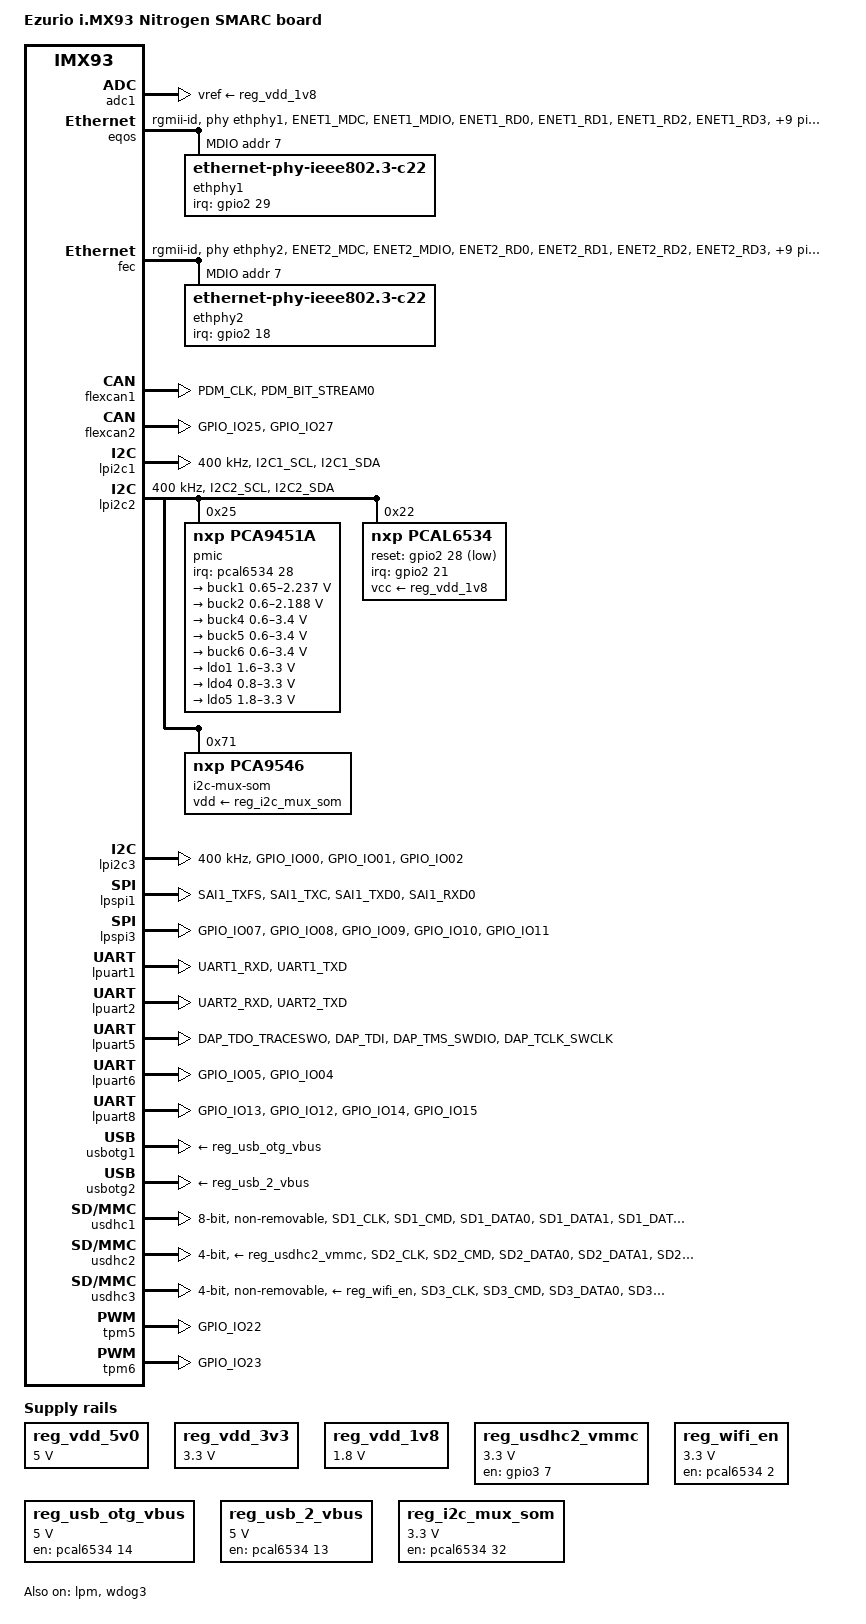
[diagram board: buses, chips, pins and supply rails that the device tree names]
// SPDX-License-Identifier: (GPL-2.0-or-later OR MIT)
/*
 * Copyright 2025 Ezurio LLC
 */

/dts-v1/;

#include <dt-bindings/usb/pd.h>
#include <dt-bindings/leds/common.h>
#include "imx93.dtsi"

/ {
	model = "Ezurio i.MX93 Nitrogen SMARC board";
	compatible = "summit,imx93-nitrogen-smarc", "fsl,imx93";

	aliases {
		can0 = &flexcan1;
		can1 = &flexcan2;
		ethernet0 = &eqos;
		ethernet1 = &fec;
		spi0 = &lpspi3;
		spi1 = &lpspi1;
		gpio4 = &pcal6534;
	};

	chosen {
		stdout-path = "serial0:115200n8";
	};

	reserved-memory {
		#address-cells = <2>;
		#size-cells = <2>;
		ranges;

		linux_cma: linux,cma {
			compatible = "shared-dma-pool";
			reusable;
			alloc-ranges = <0 0x80000000 0 0x40000000>;
			size = <0 0x10000000>;
			linux,cma-default;
		};

		ele_reserved: ele-reserved@a4120000 {
			compatible = "shared-dma-pool";
			reg = <0 0xa4120000 0 0x100000>;
			no-map;
		};
	};

	reg_vdd_5v0: regulator-vdd-5v0 {
		compatible = "regulator-fixed";
		regulator-name = "reg_vdd_5v0";
		regulator-min-microvolt = <5000000>;
		regulator-max-microvolt = <5000000>;
		regulator-boot-on;
		regulator-always-on;
	};

	reg_vdd_3v3: regulator-vdd-3v3 {
		compatible = "regulator-fixed";
		regulator-name = "reg_vdd_3v3";
		regulator-min-microvolt = <3300000>;
		regulator-max-microvolt = <3300000>;
		regulator-boot-on;
		regulator-always-on;
	};

	reg_vdd_1v8: regulator-vdd-1v8 {
		compatible = "regulator-fixed";
		regulator-name = "reg_vdd_1v8";
		regulator-min-microvolt = <1800000>;
		regulator-max-microvolt = <1800000>;
		regulator-boot-on;
		regulator-always-on;
	};

	reg_usdhc2_vmmc: regulator-usdhc2-vmmc {
		compatible = "regulator-fixed";

		regulator-name = "reg_usdhc2_vmmc";
		regulator-min-microvolt = <3300000>;
		regulator-max-microvolt = <3300000>;

		pinctrl-names = "default";
		pinctrl-0 = <&pinctrl_reg_usdhc2_vmmc>;
		gpio = <&gpio3 7 GPIO_ACTIVE_HIGH>;
		enable-active-high;
	};

	reg_wifi_en: regulator-wifi-en {
		compatible = "regulator-fixed";

		regulator-name = "reg_wifi_en";
		regulator-min-microvolt = <3300000>;
		regulator-max-microvolt = <3300000>;

		gpio = <&pcal6534 2 GPIO_ACTIVE_HIGH>; /* P0_2 -> WL_EN */
		enable-active-high;
	};

	reg_usb_otg_vbus: regulator-usb-otg-vbus {
		compatible = "regulator-fixed";
		regulator-name = "usb_otg_vbus";
		regulator-min-microvolt = <5000000>;
		regulator-max-microvolt = <5000000>;
		gpio = <&pcal6534 14 GPIO_ACTIVE_HIGH>; /* P1_6 -> USB0_EN_OC */
		enable-active-high;
	};

	reg_usb_2_vbus: regulator-usb-2-vbus {
		compatible = "regulator-fixed";
		regulator-name = "usb_2_vbus";
		regulator-min-microvolt = <5000000>;
		regulator-max-microvolt = <5000000>;
		gpio = <&pcal6534 13 GPIO_ACTIVE_HIGH>; /* P1_5 -> USB1_EN_OC */
		enable-active-high;
	};

	reg_i2c_mux_som: regulator-i2c-mux-som {
		compatible = "regulator-fixed";
		regulator-name = "reg_i2c_mux_som";
		regulator-min-microvolt = <3300000>;
		regulator-max-microvolt = <3300000>;
		gpio = <&pcal6534 32 GPIO_ACTIVE_HIGH>; /* P4_0 -> I2C_HUB_RESET */
		enable-active-high;
	};
};

&adc1 {
	vref-supply = <&reg_vdd_1v8>;
};

&ele_fw2 {
	memory-region = <&ele_reserved>;
};

&eqos {
	pinctrl-names = "default", "sleep";
	pinctrl-0 = <&pinctrl_eqos>;
	pinctrl-1 = <&pinctrl_eqos_sleep>;

	phy-mode = "rgmii-id";
	phy-handle = <&ethphy1>;

	status = "okay";

	mdio {
		compatible = "snps,dwmac-mdio";
		#address-cells = <1>;
		#size-cells = <0>;

		reset-gpios = <&pcal6534 1 GPIO_ACTIVE_LOW>;
		reset-delay-us = <150000>;
		reset-post-delay-us = <100>;

		ethphy1: ethernet-phy@7 {
			compatible = "ethernet-phy-ieee802.3-c22";
			reg = <7>;

			interrupts-extended = <&gpio2 29 IRQ_TYPE_LEVEL_LOW>;
		};
	};
};

&fec {
	pinctrl-names = "default", "sleep";
	pinctrl-0 = <&pinctrl_fec>;
	pinctrl-1 = <&pinctrl_fec_sleep>;

	phy-mode = "rgmii-id";
	phy-handle = <&ethphy2>;

	status = "okay";

	mdio {
		#address-cells = <1>;
		#size-cells = <0>;

		reset-gpios = <&pcal6534 0 GPIO_ACTIVE_LOW>;
		reset-delay-us = <150000>;
		reset-post-delay-us = <100>;

		ethphy2: ethernet-phy@7 {
			compatible = "ethernet-phy-ieee802.3-c22";
			reg = <7>;

			interrupts-extended = <&gpio2 18 IRQ_TYPE_LEVEL_LOW>;
		};
	};
};

&flexcan1 {
	pinctrl-names = "default", "sleep";
	pinctrl-0 = <&pinctrl_flexcan1>;
	pinctrl-1 = <&pinctrl_flexcan1_sleep>;
};

&flexcan2 {
	pinctrl-names = "default", "sleep";
	pinctrl-0 = <&pinctrl_flexcan2>;
	pinctrl-1 = <&pinctrl_flexcan2_sleep>;
};

&lpi2c1 { /* PMIC I2C bus, but the PMIC is on lpi2c2 */
	pinctrl-names = "default", "sleep";
	pinctrl-0 = <&pinctrl_lpi2c1>;
	pinctrl-1 = <&pinctrl_lpi2c1>;

	clock-frequency = <400000>;

	#address-cells = <1>;
	#size-cells = <0>;
};

&lpi2c2 {
	pinctrl-names = "default", "sleep";
	pinctrl-0 = <&pinctrl_lpi2c2>;
	pinctrl-1 = <&pinctrl_lpi2c2>;

	clock-frequency = <400000>;
	status = "okay";

	#address-cells = <1>;
	#size-cells = <0>;

	pmic@25 {
		compatible = "nxp,pca9451a";
		reg = <0x25>;
		interrupts-extended = <&pcal6534 28 IRQ_TYPE_EDGE_FALLING>;

		regulators {
			buck1: BUCK1 {
				regulator-name = "BUCK1";
				regulator-min-microvolt = <650000>;
				regulator-max-microvolt = <2237500>;
				regulator-boot-on;
				regulator-always-on;
				regulator-ramp-delay = <3125>;
			};

			buck2: BUCK2 {
				regulator-name = "BUCK2";
				regulator-min-microvolt = <600000>;
				regulator-max-microvolt = <2187500>;
				regulator-boot-on;
				regulator-always-on;
				regulator-ramp-delay = <3125>;
			};

			buck4: BUCK4 {
				regulator-name = "BUCK4";
				regulator-min-microvolt = <600000>;
				regulator-max-microvolt = <3400000>;
				regulator-boot-on;
				regulator-always-on;
			};

			buck5: BUCK5 {
				regulator-name = "BUCK5";
				regulator-min-microvolt = <600000>;
				regulator-max-microvolt = <3400000>;
				regulator-boot-on;
				regulator-always-on;
			};

			buck6: BUCK6 {
				regulator-name = "BUCK6";
				regulator-min-microvolt = <600000>;
				regulator-max-microvolt = <3400000>;
				regulator-boot-on;
				regulator-always-on;
			};

			ldo1: LDO1 {
				regulator-name = "LDO1";
				regulator-min-microvolt = <1600000>;
				regulator-max-microvolt = <3300000>;
				regulator-boot-on;
				regulator-always-on;
			};

			ldo4: LDO4 {
				regulator-name = "LDO4";
				regulator-min-microvolt = <800000>;
				regulator-max-microvolt = <3300000>;
				regulator-boot-on;
				regulator-always-on;
			};

			ldo5: LDO5 {
				regulator-name = "LDO5";
				regulator-min-microvolt = <1800000>;
				regulator-max-microvolt = <3300000>;
				regulator-boot-on;
				regulator-always-on;
			};
		};
	};

	pcal6534: gpio@22 {
		compatible = "nxp,pcal6534";
		reg = <0x22>;

		pinctrl-names = "default";
		pinctrl-0 = <&pinctrl_pcal6534>;
		reset-gpios = <&gpio2 28 GPIO_ACTIVE_LOW>; /* GPIO_IO28 */

		vcc-supply = <&reg_vdd_1v8>;

		gpio-controller;
		#gpio-cells = <2>;

		interrupt-controller;
		#interrupt-cells = <2>;
		interrupts-extended = <&gpio2 21 IRQ_TYPE_LEVEL_LOW>;

		gpio-line-names = "P0_0 ENET2", "P0_1 ENET1", "P0_2 WL_EN",
					"P0_3 WIFI_SDIO_WAKE", "P0_4 BT_EN",
					"P0_5 EMMC_RESET", "P0_6 BT_HOST_WAKE",
					"P0_7 ESPI1_CS1",
					"P1_0 CHARGER_PRESENT", "P1_1 ESPI_ALERT0",
					"P1_2 TEST", "P1_3 ETH1_SPEED",
					"P1_4 SD2_WP", "P1_5 USB2_PWR_EN_OC",
					"P1_6 USB1_PWR_EN_OC", "P1_7 GPIO_4",
					"P2_0 LCD0_BCKL_EN", "P2_1 LCD0_VDD_EN",
					"P2_2 CARRIER_STBY", "P2_3 LCD1_BCKL_EN",
					"P2_4 CHARGING", "P2_5 SLEEP",
					"P2_6 BAT_LOW", "P2_7 SMBUS_IRQ",
					"P3_0 GPIO_8", "P3_1 RESET_OUT",
					"P3_2 GPIO_10", "P3_3 GPIO_11",
					"P3_4 PMIC_IRQ", "P3_5 GPIO_13",
					"P3_6 ETH0_SPEED", "P3_7 CARRIER_PWR_ON",
					"P4_0 I2C_HUB_RESET", "P4_1 GPIO_9";
	};

	i2c-mux-som@71 {
		compatible = "nxp,pca9546";
		reg = <0x71>;

		vdd-supply = <&reg_i2c_mux_som>;

		#address-cells = <1>;
		#size-cells = <0>;

		i2c_som_csi0: i2c-mux-som@0 {
			/* CSI0 I2C */
			reg = <0>;
			#address-cells = <1>;
			#size-cells = <0>;
		};

		i2c_som_lcd: i2c-mux-som@1 {
			/* LCD I2C */
			reg = <1>;
			#address-cells = <1>;
			#size-cells = <0>;
		};

		i2c_som_csi1: i2c-mux-som@2 {
			/* CSI1 I2C */
			reg = <2>;
			#address-cells = <1>;
			#size-cells = <0>;
		};
	};
};

&lpi2c3 { /* SM_I2C_GP */
	pinctrl-names = "default", "sleep";
	pinctrl-0 = <&pinctrl_lpi2c3>;
	pinctrl-1 = <&pinctrl_lpi2c3>;

	clock-frequency = <400000>;

	#address-cells = <1>;
	#size-cells = <0>;
};

&lpm {
	soc-supply = <&buck1>;
	status = "okay";
};

&lpspi1 { /* SPI1 */
	pinctrl-names = "default", "sleep";
	pinctrl-0 = <&pinctrl_lpspi1>;
	pinctrl-1 = <&pinctrl_lpspi1>;

	fsl,spi-num-chipselects = <2>;
	cs-gpios = <0>, <&pcal6534 7 GPIO_ACTIVE_HIGH>;
};

&lpspi3 { /* SPI0 */
	pinctrl-names = "default", "sleep";
	pinctrl-0 = <&pinctrl_lpspi3>;
	pinctrl-1 = <&pinctrl_lpspi3>;

	fsl,spi-num-chipselects = <2>;
};

&lpuart1 { /* console SER1 */
	pinctrl-names = "default";
	pinctrl-0 = <&pinctrl_uart1>;
	status = "okay";
};

&lpuart2 { /* M33 console SER2 */
	pinctrl-names = "default";
	pinctrl-0 = <&pinctrl_uart2>;
};

&lpuart5 {
	/* BT */
	pinctrl-names = "default";
	pinctrl-0 = <&pinctrl_uart5>;
	uart-has-rtscts;
};

&lpuart6 { /*  SER3 */
	pinctrl-names = "default";
	pinctrl-0 = <&pinctrl_uart6>;
};

&lpuart8 { /*  SER0 */
	pinctrl-names = "default";
	pinctrl-0 = <&pinctrl_uart8>;
	uart-has-rtscts;
};

&usbotg1 { /* USB0 */
	vbus-supply = <&reg_usb_otg_vbus>;
	samsung,picophy-pre-emp-curr-control = <3>;
	samsung,picophy-dc-vol-level-adjust = <7>;
};

&usbotg2 { /* USB1 */
	vbus-supply = <&reg_usb_2_vbus>;
	samsung,picophy-pre-emp-curr-control = <3>;
	samsung,picophy-dc-vol-level-adjust = <7>;
};

&usdhc1 { /* eMMC */
	pinctrl-names = "default", "state_100mhz", "state_200mhz";
	pinctrl-0 = <&pinctrl_usdhc1>;
	pinctrl-1 = <&pinctrl_usdhc1_100mhz>;
	pinctrl-2 = <&pinctrl_usdhc1_200mhz>;

	bus-width = <8>;
	non-removable;

	status = "okay";
};

&usdhc2 { /* SD card */
	pinctrl-names = "default", "state_100mhz", "state_200mhz", "sleep";
	pinctrl-0 = <&pinctrl_usdhc2>, <&pinctrl_usdhc2_gpio>;
	pinctrl-1 = <&pinctrl_usdhc2_100mhz>, <&pinctrl_usdhc2_gpio>;
	pinctrl-2 = <&pinctrl_usdhc2_200mhz>, <&pinctrl_usdhc2_gpio>;
	pinctrl-3 = <&pinctrl_usdhc2_sleep>, <&pinctrl_usdhc2_gpio_sleep>;

	cd-gpios = <&gpio3 00 GPIO_ACTIVE_LOW>;
	fsl,cd-gpio-wakeup-disable;

	vmmc-supply = <&reg_usdhc2_vmmc>;

	bus-width = <4>;
};

&usdhc3 { /* WiFi / Bluetooth */
	pinctrl-names = "default", "state_100mhz", "state_200mhz", "sleep";
	pinctrl-0 = <&pinctrl_usdhc3>;
	pinctrl-1 = <&pinctrl_usdhc3_100mhz>;
	pinctrl-2 = <&pinctrl_usdhc3_200mhz>;
	pinctrl-3 = <&pinctrl_usdhc3_sleep>;

	vmmc-supply = <&reg_wifi_en>;

	bus-width = <4>;
	non-removable;
	keep-power-in-suspend;
};

&wdog3 {
	status = "okay";
};

&tpm5 {
	pinctrl-names = "default";
	pinctrl-0 = <&pinctrl_tpm5>;
};

&tpm6 {
	pinctrl-names = "default";
	pinctrl-0 = <&pinctrl_tpm6>;
};

&dsi {
	ports {
		port@1 {
			dsi_out_ep: endpoint {
			};
		};
	};
};

&iomuxc {
	pinctrl_eqos: eqosgrp {
		fsl,pins = <
			MX93_PAD_ENET1_MDC__ENET_QOS_MDC			0x57e
			MX93_PAD_ENET1_MDIO__ENET_QOS_MDIO			0x57e
			MX93_PAD_ENET1_RD0__ENET_QOS_RGMII_RD0			0x37e
			MX93_PAD_ENET1_RD1__ENET_QOS_RGMII_RD1			0x37e
			MX93_PAD_ENET1_RD2__ENET_QOS_RGMII_RD2			0x37e
			MX93_PAD_ENET1_RD3__ENET_QOS_RGMII_RD3			0x37e
			MX93_PAD_ENET1_RXC__CCM_ENET_QOS_CLOCK_GENERATE_RX_CLK	0x3fe
			MX93_PAD_ENET1_RX_CTL__ENET_QOS_RGMII_RX_CTL		0x57e
			MX93_PAD_ENET1_TD0__ENET_QOS_RGMII_TD0			0x57e
			MX93_PAD_ENET1_TD1__ENET_QOS_RGMII_TD1			0x57e
			MX93_PAD_ENET1_TD2__ENET_QOS_RGMII_TD2			0x57e
			MX93_PAD_ENET1_TD3__ENET_QOS_RGMII_TD3			0x57e
			MX93_PAD_ENET1_TXC__CCM_ENET_QOS_CLOCK_GENERATE_TX_CLK	0x5fe
			MX93_PAD_ENET1_TX_CTL__ENET_QOS_RGMII_TX_CTL		0x57e
			MX93_PAD_GPIO_IO29__GPIO2_IO29				0x131e
		>;
	};

	pinctrl_eqos_sleep: eqosgrpsleep {
		fsl,pins = <
			MX93_PAD_ENET1_MDC__GPIO4_IO00				0x31e
			MX93_PAD_ENET1_MDIO__GPIO4_IO01				0x31e
			MX93_PAD_ENET1_RD0__GPIO4_IO10				0x31e
			MX93_PAD_ENET1_RD1__GPIO4_IO11				0x31e
			MX93_PAD_ENET1_RD2__GPIO4_IO12				0x31e
			MX93_PAD_ENET1_RD3__GPIO4_IO13				0x31e
			MX93_PAD_ENET1_RXC__GPIO4_IO09				0x31e
			MX93_PAD_ENET1_RX_CTL__GPIO4_IO08			0x31e
			MX93_PAD_ENET1_TD0__GPIO4_IO05				0x31e
			MX93_PAD_ENET1_TD1__GPIO4_IO04				0x31e
			MX93_PAD_ENET1_TD2__GPIO4_IO03				0x31e
			MX93_PAD_ENET1_TD3__GPIO4_IO02				0x31e
			MX93_PAD_ENET1_TXC__GPIO4_IO07				0x31e
			MX93_PAD_ENET1_TX_CTL__GPIO4_IO06			0x31e
			MX93_PAD_GPIO_IO29__GPIO2_IO29				0x131e
		>;
	};

	pinctrl_fec: fecgrp {
		fsl,pins = <
			MX93_PAD_ENET2_MDC__ENET1_MDC				0x57e
			MX93_PAD_ENET2_MDIO__ENET1_MDIO				0x57e
			MX93_PAD_ENET2_RD0__ENET1_RGMII_RD0			0x37e
			MX93_PAD_ENET2_RD1__ENET1_RGMII_RD1			0x37e
			MX93_PAD_ENET2_RD2__ENET1_RGMII_RD2			0x37e
			MX93_PAD_ENET2_RD3__ENET1_RGMII_RD3			0x37e
			MX93_PAD_ENET2_RXC__ENET1_RGMII_RXC			0x37e
			MX93_PAD_ENET2_RX_CTL__ENET1_RGMII_RX_CTL		0x57e
			MX93_PAD_ENET2_TD0__ENET1_RGMII_TD0			0x57e
			MX93_PAD_ENET2_TD1__ENET1_RGMII_TD1			0x57e
			MX93_PAD_ENET2_TD2__ENET1_RGMII_TD2			0x57e
			MX93_PAD_ENET2_TD3__ENET1_RGMII_TD3			0x57e
			MX93_PAD_ENET2_TXC__ENET1_RGMII_TXC			0x57e
			MX93_PAD_ENET2_TX_CTL__ENET1_RGMII_TX_CTL		0x57e
			MX93_PAD_GPIO_IO18__GPIO2_IO18				0x131e
		>;
	};

	pinctrl_fec_sleep: fecsleepgrp {
		fsl,pins = <
			MX93_PAD_ENET2_MDC__GPIO4_IO14				0x51e
			MX93_PAD_ENET2_MDIO__GPIO4_IO15				0x51e
			MX93_PAD_ENET2_RD0__GPIO4_IO24				0x51e
			MX93_PAD_ENET2_RD1__GPIO4_IO25				0x51e
			MX93_PAD_ENET2_RD2__GPIO4_IO26				0x51e
			MX93_PAD_ENET2_RD3__GPIO4_IO27				0x51e
			MX93_PAD_ENET2_RXC__GPIO4_IO23				0x51e
			MX93_PAD_ENET2_RX_CTL__GPIO4_IO22			0x51e
			MX93_PAD_ENET2_TD0__GPIO4_IO19				0x51e
			MX93_PAD_ENET2_TD1__GPIO4_IO18				0x51e
			MX93_PAD_ENET2_TD2__GPIO4_IO17				0x51e
			MX93_PAD_ENET2_TD3__GPIO4_IO16				0x51e
			MX93_PAD_ENET2_TXC__GPIO4_IO21				0x51e
			MX93_PAD_ENET2_TX_CTL__GPIO4_IO20			0x51e
			MX93_PAD_GPIO_IO18__GPIO2_IO18				0x131e
		>;
	};

	pinctrl_lpi2c1: lpi2c1grp {
		fsl,pins = <
			MX93_PAD_I2C1_SCL__LPI2C1_SCL				0x40000b9e
			MX93_PAD_I2C1_SDA__LPI2C1_SDA				0x40000b9e
		>;
	};

	pinctrl_lpi2c2: lpi2c2grp {
		fsl,pins = <
			MX93_PAD_I2C2_SCL__LPI2C2_SCL				0x40000b9e
			MX93_PAD_I2C2_SDA__LPI2C2_SDA				0x40000b9e
		>;
	};

	pinctrl_lpi2c3: lpi2c3grp {
		fsl,pins = <
			MX93_PAD_GPIO_IO00__LPI2C3_SDA				0x40000b9e
			MX93_PAD_GPIO_IO01__LPI2C3_SCL				0x40000b9e
			MX93_PAD_GPIO_IO02__GPIO2_IO02				0x31e
		>;
	};

	pinctrl_flexcan1: flexcan1grp {
		fsl,pins = <
			MX93_PAD_PDM_CLK__CAN1_TX				0x139e
			MX93_PAD_PDM_BIT_STREAM0__CAN1_RX			0x139e
		>;
	};

	pinctrl_flexcan1_sleep: flexcan1sleepgrp {
		fsl,pins = <
			MX93_PAD_PDM_CLK__GPIO1_IO08				0x31e
			MX93_PAD_PDM_BIT_STREAM0__GPIO1_IO09			0x31e
		>;
	};

	pinctrl_flexcan2: flexcan2grp {
		fsl,pins = <
			MX93_PAD_GPIO_IO25__CAN2_TX				0x139e
			MX93_PAD_GPIO_IO27__CAN2_RX				0x139e
		>;
	};

	pinctrl_flexcan2_sleep: flexcan2sleepgrp {
		fsl,pins = <
			MX93_PAD_GPIO_IO25__GPIO2_IO25  0x31e
			MX93_PAD_GPIO_IO27__GPIO2_IO27	0x31e
		>;
	};

	pinctrl_pcal6534: pcal6534grp {
		fsl,pins = <
			MX93_PAD_GPIO_IO28__GPIO2_IO28				0x31e
			MX93_PAD_GPIO_IO21__GPIO2_IO21				0x131e
		>;
	};

	pinctrl_lpspi1: lpspi1grp {
		fsl,pins = <
			MX93_PAD_SAI1_TXFS__LPSPI1_PCS0				0x3fe
			MX93_PAD_SAI1_TXC__LPSPI1_SIN				0x3fe
			MX93_PAD_SAI1_TXD0__LPSPI1_SCK				0x3fe
			MX93_PAD_SAI1_RXD0__LPSPI1_SOUT				0x3fe
		>;
	};

	pinctrl_lpspi3: lpspi3grp {
		fsl,pins = <
			MX93_PAD_GPIO_IO07__LPSPI3_PCS1				0x3fe
			MX93_PAD_GPIO_IO08__LPSPI3_PCS0				0x3fe
			MX93_PAD_GPIO_IO09__LPSPI3_SIN				0x3fe
			MX93_PAD_GPIO_IO10__LPSPI3_SOUT				0x3fe
			MX93_PAD_GPIO_IO11__LPSPI3_SCK				0x3fe
		>;
	};

	pinctrl_uart1: uart1grp {
		fsl,pins = <
			MX93_PAD_UART1_RXD__LPUART1_RX				0x131e
			MX93_PAD_UART1_TXD__LPUART1_TX				0x31e
		>;
	};

	pinctrl_uart2: uart2grp {
		fsl,pins = <
			MX93_PAD_UART2_RXD__LPUART2_RX				0x131e
			MX93_PAD_UART2_TXD__LPUART2_TX				0x31e
		>;
	};

	pinctrl_uart5: uart5grp {
		fsl,pins = <
			MX93_PAD_DAP_TDO_TRACESWO__LPUART5_TX			0x31e
			MX93_PAD_DAP_TDI__LPUART5_RX				0x131e
			MX93_PAD_DAP_TMS_SWDIO__LPUART5_RTS_B			0x131e
			MX93_PAD_DAP_TCLK_SWCLK__LPUART5_CTS_B			0x131e
		>;
	};

	pinctrl_uart6: uart6grp {
		fsl,pins = <
			MX93_PAD_GPIO_IO05__LPUART6_RX				0x131e
			MX93_PAD_GPIO_IO04__LPUART6_TX				0x31e
		>;
	};

	pinctrl_uart8: uart8grp {
		fsl,pins = <
			MX93_PAD_GPIO_IO13__LPUART8_RX				0x131e
			MX93_PAD_GPIO_IO12__LPUART8_TX				0x31e
			MX93_PAD_GPIO_IO14__LPUART8_CTS_B			0x131e
			MX93_PAD_GPIO_IO15__LPUART8_RTS_B			0x131e
		>;
	};

	/* need to config the SION for data and cmd pad, refer to ERR052021 */
	pinctrl_usdhc1: usdhc1grp {
		fsl,pins = <
			MX93_PAD_SD1_CLK__USDHC1_CLK		0x1582
			MX93_PAD_SD1_CMD__USDHC1_CMD		0x40001382
			MX93_PAD_SD1_DATA0__USDHC1_DATA0	0x40001382
			MX93_PAD_SD1_DATA1__USDHC1_DATA1	0x40001382
			MX93_PAD_SD1_DATA2__USDHC1_DATA2	0x40001382
			MX93_PAD_SD1_DATA3__USDHC1_DATA3	0x40001382
			MX93_PAD_SD1_DATA4__USDHC1_DATA4	0x40001382
			MX93_PAD_SD1_DATA5__USDHC1_DATA5	0x40001382
			MX93_PAD_SD1_DATA6__USDHC1_DATA6	0x40001382
			MX93_PAD_SD1_DATA7__USDHC1_DATA7	0x40001382
			MX93_PAD_SD1_STROBE__USDHC1_STROBE	0x1582
		>;
	};

	/* need to config the SION for data and cmd pad, refer to ERR052021 */
	pinctrl_usdhc1_100mhz: usdhc1-100mhzgrp {
		fsl,pins = <
			MX93_PAD_SD1_CLK__USDHC1_CLK		0x158e
			MX93_PAD_SD1_CMD__USDHC1_CMD		0x4000138e
			MX93_PAD_SD1_DATA0__USDHC1_DATA0	0x4000138e
			MX93_PAD_SD1_DATA1__USDHC1_DATA1	0x4000138e
			MX93_PAD_SD1_DATA2__USDHC1_DATA2	0x4000138e
			MX93_PAD_SD1_DATA3__USDHC1_DATA3	0x4000138e
			MX93_PAD_SD1_DATA4__USDHC1_DATA4	0x4000138e
			MX93_PAD_SD1_DATA5__USDHC1_DATA5	0x4000138e
			MX93_PAD_SD1_DATA6__USDHC1_DATA6	0x4000138e
			MX93_PAD_SD1_DATA7__USDHC1_DATA7	0x4000138e
			MX93_PAD_SD1_STROBE__USDHC1_STROBE	0x158e
		>;
	};

	/* need to config the SION for data and cmd pad, refer to ERR052021 */
	pinctrl_usdhc1_200mhz: usdhc1-200mhzgrp {
		fsl,pins = <
			MX93_PAD_SD1_CLK__USDHC1_CLK		0x15fe
			MX93_PAD_SD1_CMD__USDHC1_CMD		0x400013fe
			MX93_PAD_SD1_DATA0__USDHC1_DATA0	0x400013fe
			MX93_PAD_SD1_DATA1__USDHC1_DATA1	0x400013fe
			MX93_PAD_SD1_DATA2__USDHC1_DATA2	0x400013fe
			MX93_PAD_SD1_DATA3__USDHC1_DATA3	0x400013fe
			MX93_PAD_SD1_DATA4__USDHC1_DATA4	0x400013fe
			MX93_PAD_SD1_DATA5__USDHC1_DATA5	0x400013fe
			MX93_PAD_SD1_DATA6__USDHC1_DATA6	0x400013fe
			MX93_PAD_SD1_DATA7__USDHC1_DATA7	0x400013fe
			MX93_PAD_SD1_STROBE__USDHC1_STROBE	0x15fe
		>;
	};

	pinctrl_reg_usdhc2_vmmc: regusdhc2vmmcgrp {
		fsl,pins = <
			MX93_PAD_SD2_RESET_B__GPIO3_IO07	0x31e
		>;
	};

	pinctrl_usdhc2_gpio: usdhc2gpiogrp {
		fsl,pins = <
			MX93_PAD_SD2_CD_B__GPIO3_IO00		0x31e
		>;
	};

	pinctrl_usdhc2_gpio_sleep: usdhc2gpiosleepgrp {
		fsl,pins = <
			MX93_PAD_SD2_CD_B__GPIO3_IO00		0x51e
		>;
	};

	/* need to config the SION for data and cmd pad, refer to ERR052021 */
	pinctrl_usdhc2: usdhc2grp {
		fsl,pins = <
			MX93_PAD_SD2_CLK__USDHC2_CLK		0x1582
			MX93_PAD_SD2_CMD__USDHC2_CMD		0x40001382
			MX93_PAD_SD2_DATA0__USDHC2_DATA0	0x40001382
			MX93_PAD_SD2_DATA1__USDHC2_DATA1	0x40001382
			MX93_PAD_SD2_DATA2__USDHC2_DATA2	0x40001382
			MX93_PAD_SD2_DATA3__USDHC2_DATA3	0x40001382
			MX93_PAD_SD2_VSELECT__USDHC2_VSELECT	0x51e
		>;
	};

	/* need to config the SION for data and cmd pad, refer to ERR052021 */
	pinctrl_usdhc2_100mhz: usdhc2-100mhzgrp {
		fsl,pins = <
			MX93_PAD_SD2_CLK__USDHC2_CLK		0x158e
			MX93_PAD_SD2_CMD__USDHC2_CMD		0x4000138e
			MX93_PAD_SD2_DATA0__USDHC2_DATA0	0x4000138e
			MX93_PAD_SD2_DATA1__USDHC2_DATA1	0x4000138e
			MX93_PAD_SD2_DATA2__USDHC2_DATA2	0x4000138e
			MX93_PAD_SD2_DATA3__USDHC2_DATA3	0x4000138e
			MX93_PAD_SD2_VSELECT__USDHC2_VSELECT	0x51e
		>;
	};

	/* need to config the SION for data and cmd pad, refer to ERR052021 */
	pinctrl_usdhc2_200mhz: usdhc2-200mhzgrp {
		fsl,pins = <
			MX93_PAD_SD2_CLK__USDHC2_CLK		0x15fe
			MX93_PAD_SD2_CMD__USDHC2_CMD		0x400013fe
			MX93_PAD_SD2_DATA0__USDHC2_DATA0	0x400013fe
			MX93_PAD_SD2_DATA1__USDHC2_DATA1	0x400013fe
			MX93_PAD_SD2_DATA2__USDHC2_DATA2	0x400013fe
			MX93_PAD_SD2_DATA3__USDHC2_DATA3	0x400013fe
			MX93_PAD_SD2_VSELECT__USDHC2_VSELECT	0x51e
		>;
	};

	pinctrl_usdhc2_sleep: usdhc2sleepgrp {
		fsl,pins = <
			MX93_PAD_SD2_CLK__GPIO3_IO01            0x51e
			MX93_PAD_SD2_CMD__GPIO3_IO02		0x51e
			MX93_PAD_SD2_DATA0__GPIO3_IO03		0x51e
			MX93_PAD_SD2_DATA1__GPIO3_IO04		0x51e
			MX93_PAD_SD2_DATA2__GPIO3_IO05		0x51e
			MX93_PAD_SD2_DATA3__GPIO3_IO06		0x51e
			MX93_PAD_SD2_VSELECT__GPIO3_IO19	0x51e
		>;
	};

	/* need to config the SION for data and cmd pad, refer to ERR052021 */
	pinctrl_usdhc3: usdhc3grp {
		fsl,pins = <
			MX93_PAD_SD3_CLK__USDHC3_CLK		0x1582
			MX93_PAD_SD3_CMD__USDHC3_CMD		0x40001382
			MX93_PAD_SD3_DATA0__USDHC3_DATA0	0x40001382
			MX93_PAD_SD3_DATA1__USDHC3_DATA1	0x40001382
			MX93_PAD_SD3_DATA2__USDHC3_DATA2	0x40001382
			MX93_PAD_SD3_DATA3__USDHC3_DATA3	0x40001382
		>;
	};

	/* need to config the SION for data and cmd pad, refer to ERR052021 */
	pinctrl_usdhc3_100mhz: usdhc3-100mhzgrp {
		fsl,pins = <
			MX93_PAD_SD3_CLK__USDHC3_CLK		0x158e
			MX93_PAD_SD3_CMD__USDHC3_CMD		0x4000138e
			MX93_PAD_SD3_DATA0__USDHC3_DATA0	0x4000138e
			MX93_PAD_SD3_DATA1__USDHC3_DATA1	0x4000138e
			MX93_PAD_SD3_DATA2__USDHC3_DATA2	0x4000138e
			MX93_PAD_SD3_DATA3__USDHC3_DATA3	0x4000138e
		>;
	};

	/* need to config the SION for data and cmd pad, refer to ERR052021 */
	pinctrl_usdhc3_200mhz: usdhc3-200mhzgrp {
		fsl,pins = <
			MX93_PAD_SD3_CLK__USDHC3_CLK		0x15fe
			MX93_PAD_SD3_CMD__USDHC3_CMD		0x400013fe
			MX93_PAD_SD3_DATA0__USDHC3_DATA0	0x400013fe
			MX93_PAD_SD3_DATA1__USDHC3_DATA1	0x400013fe
			MX93_PAD_SD3_DATA2__USDHC3_DATA2	0x400013fe
			MX93_PAD_SD3_DATA3__USDHC3_DATA3	0x400013fe
		>;
	};

	pinctrl_usdhc3_sleep: usdhc3grpsleep {
		fsl,pins = <
			MX93_PAD_SD3_CLK__GPIO3_IO20		0x31e
			MX93_PAD_SD3_CMD__GPIO3_IO21		0x31e
			MX93_PAD_SD3_DATA0__GPIO3_IO22		0x31e
			MX93_PAD_SD3_DATA1__GPIO3_IO23		0x31e
			MX93_PAD_SD3_DATA2__GPIO3_IO24		0x31e
			MX93_PAD_SD3_DATA3__GPIO3_IO25		0x31e
		>;
	};

	pinctrl_sai3: sai3grp {
		fsl,pins = <
			MX93_PAD_GPIO_IO16__SAI3_TX_BCLK			0x31e
			MX93_PAD_GPIO_IO17__SAI3_MCLK				0x31e
			MX93_PAD_GPIO_IO19__SAI3_TX_DATA00			0x31e
			MX93_PAD_GPIO_IO20__SAI3_RX_DATA00			0x31e
			MX93_PAD_GPIO_IO26__SAI3_TX_SYNC			0x31e
		>;
	};

	pinctrl_tpm5: pinctrl-tpm5grp {
		fsl,pins = <
			MX93_PAD_GPIO_IO22__TPM5_CH1     0x02
		>;
	};

	pinctrl_tpm6: pinctrl-tpm6grp {
		fsl,pins = <
			MX93_PAD_GPIO_IO23__TPM6_CH1	0x02
		>;
	};
};
